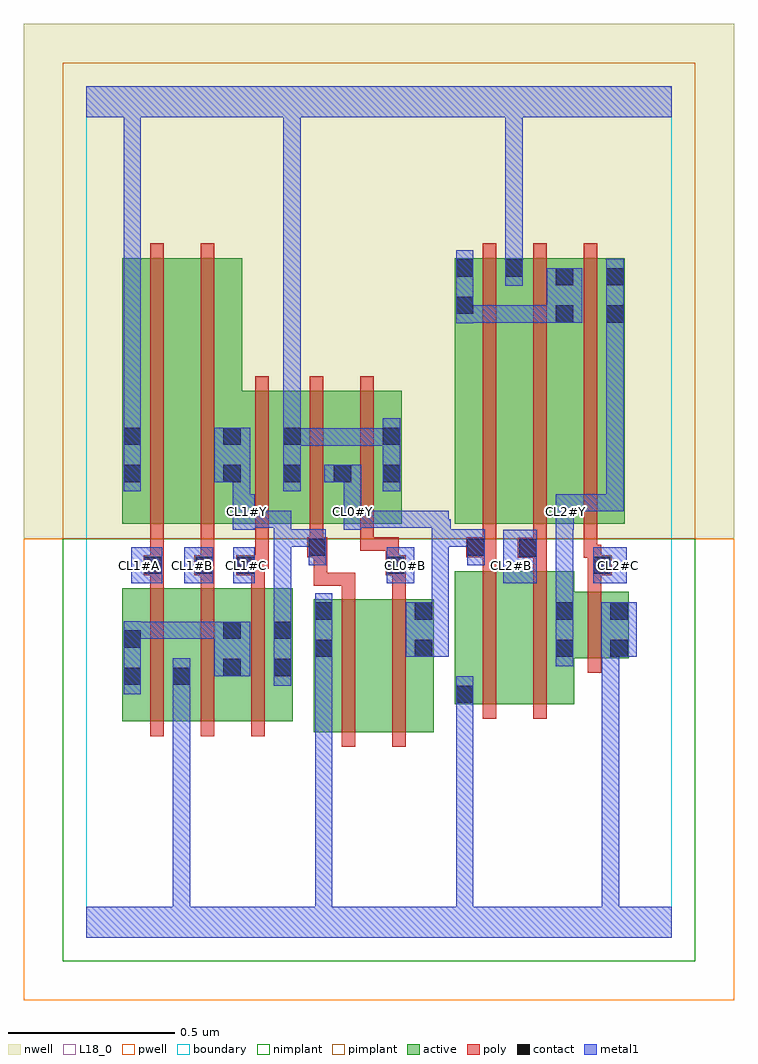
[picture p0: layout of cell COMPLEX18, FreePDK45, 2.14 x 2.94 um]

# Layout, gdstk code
import gdstk
lib = gdstk.Library(unit=1e-6, precision=1e-09)
def R(c, l, rs):  # rectangles x0, y0, x1, y1
    for r in rs: c.add(gdstk.rectangle(r[:2], r[2:], *l))
def A(c, l, x, y, w, h, nx, ny, dx, dy):  # array of equal rectangles
    R(c, l, [(x+i*dx, y+j*dy, x+i*dx+w, y+j*dy+h) for i in range(nx) for j in range(ny)])
active = (1, 0)
pwell = (2, 0)
nwell = (3, 0)
nimplant = (4, 0)
pimplant = (5, 0)
poly = (9, 0)
contact = (10, 0)
metal1 = (11, 0)
L18_0 = (18, 0)
boundary = (235, 0)

complex18 = lib.new_cell('COMPLEX18')
R(complex18, active, [(0.684,0.618,0.864,1.018), (0.864,0.618,1.044,1.018), (0.108,0.65,0.316,1.05), (0.256,0.65,0.316,0.902), (0.256,0.65,0.468,1.05), (0.408,0.65,0.62,1.05), (1.108,0.702,1.288,1.102), (1.108,0.702,1.168,1.102), (1.288,0.702,1.468,1.102), (0.108,0.756,0.168,1.05), (0.408,0.756,0.468,0.954), (0.56,0.756,0.62,1.05), (0.684,0.756,0.744,1.018), (0.984,0.756,1.044,1.018), (1.408,0.776,1.468,1.028), (1.408,0.84,1.632,1.04), (1.572,0.84,1.632,1.04), (0.108,1.244,0.168,2.044), (0.108,1.244,0.288,2.044), (0.288,1.244,0.468,2.044), (0.408,1.244,0.648,1.644), (0.588,1.244,0.8,1.644), (0.74,1.244,0.948,1.644), (0.888,1.244,0.948,1.644), (1.108,1.244,1.168,2.044), (1.108,1.244,1.316,2.044), (1.256,1.244,1.468,2.044), (1.408,1.244,1.62,2.044), (1.56,1.244,1.62,2.044), (0.408,1.366,0.468,1.644), (0.588,1.366,0.648,1.644), (0.74,1.366,0.8,1.644), (1.256,1.686,1.316,2.044), (1.408,1.686,1.468,2.044)])
R(complex18, pwell, [(-0.188,-0.188,1.948,1.2)])
R(complex18, nwell, [(-0.188,1.2,1.948,2.748)])
R(complex18, nimplant, [(-0.072,-0.072,1.832,1.2)])
R(complex18, pimplant, [(-0.072,1.2,1.832,2.632)])
A(complex18, poly, 0.192, 0.606, 0.04, 0.488, 3, 1, 0.152, 0)
A(complex18, poly, 0.192, 1.054, 0.04, 0.076, 3, 1, 0.152, 0)
A(complex18, poly, 1.192, 1.2, 0.04, 0.888, 3, 1, 0.152, 0)
R(complex18, poly, [(0.768,0.574,0.808,1.062), (0.92,0.574,0.96,1.062), (1.192,0.658,1.232,1.146), (1.344,0.658,1.384,1.146), (1.508,0.796,1.548,1.084), (0.768,1.022,0.808,1.098), (0.92,1.022,0.96,1.13), (1.508,1.044,1.548,1.13), (0.684,1.058,0.724,1.184), (0.684,1.058,0.808,1.098), (0.172,1.09,0.232,1.15), (0.192,1.09,0.232,1.13), (0.192,1.09,0.232,1.13), (0.324,1.09,0.384,1.15), (0.344,1.09,0.384,1.13), (0.344,1.09,0.384,1.13), (0.45,1.09,0.536,1.15), (0.9,1.09,0.96,1.15), (1.508,1.09,1.58,1.15), (1.192,1.106,1.232,1.184), (1.344,1.106,1.384,1.182), (0.192,1.11,0.232,1.24), (0.344,1.11,0.384,1.24), (0.496,1.11,0.548,1.15), (0.496,1.11,0.536,1.15), (0.508,1.11,0.548,1.24), (0.9,1.11,0.94,1.204), (1.508,1.11,1.548,1.182), (1.298,1.142,1.384,1.202), (1.496,1.142,1.536,1.24), (1.496,1.142,1.548,1.182), (0.664,1.144,0.724,1.204), (1.142,1.144,1.232,1.204), (1.192,1.144,1.232,1.184), (1.192,1.144,1.232,1.184), (1.344,1.162,1.384,1.24), (1.344,1.162,1.384,1.202), (1.344,1.162,1.384,1.202), (0.672,1.164,0.712,1.24), (0.824,1.164,0.864,1.24), (0.824,1.164,0.94,1.204), (1.192,1.164,1.232,1.24), (0.192,1.2,0.232,2.088), (0.344,1.2,0.384,2.088), (0.508,1.2,0.548,1.688), (0.672,1.2,0.712,1.688), (0.824,1.2,0.864,1.688)])
R(complex18, contact, [(1.112,0.706,1.164,0.758), (0.112,0.76,0.164,0.812), (0.26,0.76,0.312,0.812), (0.412,0.786,0.464,0.838), (0.564,0.786,0.616,0.838), (0.688,0.844,0.74,0.896), (0.988,0.844,1.04,0.896), (1.412,0.844,1.464,0.896), (1.576,0.844,1.628,0.896), (0.112,0.872,0.164,0.924), (0.412,0.898,0.464,0.95), (0.564,0.898,0.616,0.95), (0.688,0.956,0.74,1.008), (0.988,0.956,1.04,1.008), (1.412,0.956,1.464,1.008), (1.576,0.956,1.628,1.008), (0.176,1.094,0.228,1.146), (0.328,1.094,0.38,1.146), (0.454,1.094,0.506,1.146), (0.904,1.094,0.956,1.146), (1.524,1.094,1.576,1.146), (1.302,1.146,1.354,1.198), (0.668,1.148,0.72,1.2), (1.146,1.148,1.198,1.2), (0.112,1.37,0.164,1.422), (0.412,1.37,0.464,1.422), (0.592,1.37,0.644,1.422), (0.744,1.37,0.796,1.422), (0.892,1.37,0.944,1.422), (0.112,1.482,0.164,1.534), (0.412,1.482,0.464,1.534), (0.592,1.482,0.644,1.534), (0.892,1.482,0.944,1.534), (1.412,1.85,1.464,1.902), (1.564,1.85,1.616,1.902), (1.112,1.876,1.164,1.928), (1.412,1.962,1.464,2.014), (1.564,1.962,1.616,2.014), (1.112,1.988,1.164,2.04), (1.26,1.988,1.312,2.04)])
R(complex18, metal1, [(0,0,1.76,0.092), (0.26,0.04,0.312,0.092), (0.26,0.04,0.312,0.092), (0.26,0.04,0.312,0.092), (0.26,0.04,0.312,0.092), (0.26,0.04,0.312,0.092), (0.26,0.04,0.312,0.092), (0.26,0.04,0.312,0.092), (0.26,0.04,0.312,0.092), (0.26,0.04,0.312,0.092), (0.26,0.04,0.312,0.092), (0.26,0.04,0.312,0.092), (0.26,0.04,0.312,0.092), (0.26,0.04,0.312,0.784), (0.688,0.04,0.74,0.092), (0.688,0.04,0.74,0.092), (0.688,0.04,0.74,0.092), (0.688,0.04,0.74,0.092), (0.688,0.04,0.74,0.092), (0.688,0.04,0.74,0.092), (0.688,0.04,0.74,0.092), (0.688,0.04,0.74,0.092), (0.688,0.04,0.74,0.868), (1.112,0.04,1.164,0.092), (1.112,0.04,1.164,0.092), (1.112,0.04,1.164,0.092), (1.112,0.04,1.164,0.092), (1.112,0.04,1.164,0.092), (1.112,0.04,1.164,0.092), (1.112,0.04,1.164,0.092), (1.112,0.04,1.164,0.092), (1.112,0.04,1.164,0.092), (1.112,0.04,1.164,0.092), (1.112,0.04,1.164,0.73), (1.55,0.04,1.602,0.092), (1.55,0.04,1.602,0.092), (1.55,0.04,1.602,0.092), (1.55,0.04,1.602,0.092), (1.55,0.04,1.602,0.092), (1.55,0.04,1.602,0.092), (1.55,0.04,1.602,0.092), (1.55,0.04,1.602,0.092), (1.55,0.04,1.602,0.092), (1.55,0.04,1.602,0.092), (1.55,0.04,1.602,0.092), (1.55,0.04,1.602,0.092), (1.55,0.04,1.602,0.092), (1.55,0.04,1.602,0.092), (1.55,0.04,1.602,0.896), (1.112,0.678,1.164,0.73), (1.112,0.678,1.164,0.73), (1.112,0.678,1.164,0.786), (0.112,0.732,0.164,0.952), (0.26,0.732,0.312,0.84), (0.564,0.758,0.616,0.978), (0.384,0.786,0.492,0.95), (0.688,0.816,0.74,1.036), (0.688,0.816,0.74,0.868), (0.688,0.816,0.74,0.868), (0.688,0.816,0.74,0.868), (0.688,0.816,0.74,0.868), (1.412,0.816,1.464,1.036), (0.96,0.844,1.09,1.008), (1.548,0.844,1.656,1.008), (1.55,0.844,1.602,0.896), (1.55,0.844,1.602,0.896), (0.112,0.898,0.164,0.95), (0.112,0.898,0.164,0.95), (0.112,0.898,0.326,0.95), (0.274,0.898,0.326,0.95), (0.274,0.898,0.326,0.95), (0.274,0.898,0.326,0.95), (0.274,0.898,0.436,0.95), (0.564,0.926,0.616,0.978), (0.564,0.926,0.616,0.978), (0.564,0.926,0.616,1.228), (1.038,0.956,1.09,1.258), (1.412,0.984,1.464,1.278), (0.134,1.066,0.228,1.174), (0.294,1.066,0.38,1.174), (0.442,1.066,0.506,1.174), (0.904,1.066,0.986,1.174), (1.254,1.066,1.354,1.226), (1.524,1.066,1.626,1.174), (0.668,1.12,0.72,1.228), (1.146,1.12,1.198,1.228), (0.564,1.176,0.616,1.228), (0.564,1.176,0.616,1.228), (0.564,1.176,0.616,1.284), (0.564,1.176,0.72,1.228), (1.044,1.176,1.198,1.228), (1.044,1.176,1.096,1.258), (1.038,1.206,1.09,1.258), (1.038,1.206,1.09,1.258), (1.038,1.206,1.096,1.258), (1.038,1.206,1.09,1.284), (0.44,1.226,0.506,1.334), (0.774,1.226,0.826,1.334), (1.412,1.226,1.466,1.334), (0.454,1.232,0.506,1.284), (0.454,1.232,0.506,1.284), (0.454,1.232,0.616,1.284), (0.774,1.232,0.986,1.284), (0.934,1.232,0.986,1.284), (0.934,1.232,1.09,1.284), (0.44,1.282,0.492,1.422), (0.774,1.282,0.826,1.422), (1.414,1.282,1.466,1.334), (1.414,1.282,1.466,1.334), (1.414,1.282,1.616,1.334), (1.564,1.282,1.616,1.874), (1.564,1.282,1.616,1.334), (1.564,1.282,1.616,1.334), (1.564,1.282,1.616,1.334), (0.112,1.342,0.164,1.562), (0.592,1.342,0.644,1.562), (0.892,1.342,0.944,1.562), (0.384,1.37,0.492,1.534), (0.716,1.37,0.826,1.422), (0.592,1.48,0.754,1.532), (0.702,1.48,0.754,1.532), (0.702,1.48,0.754,1.532), (0.702,1.48,0.754,1.532), (0.702,1.48,0.944,1.532), (0.892,1.48,0.944,1.532), (0.892,1.48,0.944,1.532), (0.112,1.51,0.164,1.562), (0.112,1.51,0.164,1.562), (0.112,1.51,0.164,1.562), (0.112,1.51,0.164,1.562), (0.112,1.51,0.164,1.562), (0.112,1.51,0.164,1.562), (0.112,1.51,0.164,2.52), (0.592,1.51,0.644,1.562), (0.592,1.51,0.644,1.562), (0.592,1.51,0.644,1.562), (0.592,1.51,0.644,1.562), (0.592,1.51,0.644,1.562), (0.592,1.51,0.644,1.562), (0.592,1.51,0.644,1.562), (0.592,1.51,0.644,1.562), (0.592,1.51,0.644,2.52), (1.564,1.822,1.616,2.042), (1.112,1.848,1.164,2.068), (1.112,1.85,1.198,1.902), (1.146,1.85,1.198,1.902), (1.146,1.85,1.308,1.902), (1.256,1.85,1.308,1.902), (1.256,1.85,1.308,1.902), (1.256,1.85,1.308,1.902), (1.256,1.85,1.436,1.902), (1.384,1.85,1.492,2.014), (1.26,1.96,1.312,2.068), (1.26,2.016,1.312,2.068), (1.26,2.016,1.312,2.068), (1.26,2.016,1.312,2.068), (1.26,2.016,1.312,2.068), (1.26,2.016,1.312,2.068), (1.26,2.016,1.312,2.068), (1.26,2.016,1.312,2.068), (1.26,2.016,1.312,2.068), (1.26,2.016,1.312,2.52), (0,2.468,1.76,2.56), (0.112,2.468,0.164,2.52), (0.112,2.468,0.164,2.52), (0.592,2.468,0.644,2.52), (0.592,2.468,0.644,2.52), (0.592,2.468,0.644,2.52), (0.592,2.468,0.644,2.52), (0.592,2.468,0.644,2.52), (0.592,2.468,0.644,2.52), (0.592,2.468,0.644,2.52), (0.592,2.468,0.644,2.52)])
A(complex18, L18_0, 0.134, 1.094, 0.052, 0.052, 3, 1, 0.16, 0)
A(complex18, L18_0, 0.934, 1.094, 0.052, 0.052, 3, 1, 0.32, 0)
R(complex18, L18_0, [(0,0,1.76,0.092), (0.26,0.04,0.312,0.092), (0.26,0.04,0.312,0.092), (0.26,0.04,0.312,0.092), (0.26,0.04,0.312,0.092), (0.26,0.04,0.312,0.092), (0.26,0.04,0.312,0.092), (0.26,0.04,0.312,0.092), (0.26,0.04,0.312,0.092), (0.26,0.04,0.312,0.092), (0.26,0.04,0.312,0.092), (0.26,0.04,0.312,0.092), (0.26,0.04,0.312,0.092), (0.26,0.04,0.312,0.784), (0.688,0.04,0.74,0.092), (0.688,0.04,0.74,0.092), (0.688,0.04,0.74,0.092), (0.688,0.04,0.74,0.092), (0.688,0.04,0.74,0.092), (0.688,0.04,0.74,0.092), (0.688,0.04,0.74,0.092), (0.688,0.04,0.74,0.092), (0.688,0.04,0.74,0.868), (1.112,0.04,1.164,0.092), (1.112,0.04,1.164,0.092), (1.112,0.04,1.164,0.092), (1.112,0.04,1.164,0.092), (1.112,0.04,1.164,0.092), (1.112,0.04,1.164,0.092), (1.112,0.04,1.164,0.092), (1.112,0.04,1.164,0.092), (1.112,0.04,1.164,0.092), (1.112,0.04,1.164,0.092), (1.112,0.04,1.164,0.73), (1.55,0.04,1.602,0.092), (1.55,0.04,1.602,0.092), (1.55,0.04,1.602,0.092), (1.55,0.04,1.602,0.092), (1.55,0.04,1.602,0.092), (1.55,0.04,1.602,0.092), (1.55,0.04,1.602,0.092), (1.55,0.04,1.602,0.092), (1.55,0.04,1.602,0.092), (1.55,0.04,1.602,0.092), (1.55,0.04,1.602,0.092), (1.55,0.04,1.602,0.092), (1.55,0.04,1.602,0.092), (1.55,0.04,1.602,0.092), (1.55,0.04,1.602,0.896), (1.112,0.678,1.164,0.73), (1.112,0.678,1.164,0.73), (1.112,0.678,1.164,0.786), (0.26,0.732,0.312,0.84), (0.564,0.758,0.616,0.978), (0.688,0.816,0.74,1.036), (0.688,0.816,0.74,0.868), (0.688,0.816,0.74,0.868), (0.688,0.816,0.74,0.868), (0.688,0.816,0.74,0.868), (1.412,0.816,1.464,1.036), (0.96,0.844,1.09,1.008), (1.548,0.844,1.656,1.008), (1.55,0.844,1.602,0.896), (1.55,0.844,1.602,0.896), (0.564,0.926,0.616,0.978), (0.564,0.926,0.616,0.978), (0.564,0.926,0.616,1.228), (1.038,0.956,1.09,1.258), (1.412,0.984,1.464,1.278), (0.134,1.066,0.228,1.174), (0.294,1.066,0.38,1.174), (0.442,1.066,0.506,1.174), (0.904,1.066,0.986,1.174), (1.254,1.066,1.354,1.226), (1.524,1.066,1.626,1.174), (0.668,1.12,0.72,1.228), (1.146,1.12,1.198,1.228), (0.564,1.176,0.616,1.228), (0.564,1.176,0.616,1.228), (0.564,1.176,0.616,1.284), (0.564,1.176,0.72,1.228), (1.044,1.176,1.096,1.258), (1.044,1.176,1.198,1.228), (1.038,1.206,1.09,1.258), (1.038,1.206,1.09,1.258), (1.038,1.206,1.09,1.284), (1.038,1.206,1.096,1.258), (0.44,1.226,0.506,1.334), (0.774,1.226,0.826,1.334), (1.412,1.226,1.466,1.334), (0.454,1.232,0.506,1.284), (0.454,1.232,0.506,1.284), (0.454,1.232,0.616,1.284), (0.774,1.232,0.986,1.284), (0.934,1.232,0.986,1.284), (0.934,1.232,1.09,1.284), (0.454,1.254,0.506,1.306), (0.774,1.254,0.826,1.306), (1.414,1.254,1.466,1.306), (0.44,1.282,0.492,1.422), (0.774,1.282,0.826,1.422), (1.414,1.282,1.466,1.334), (1.414,1.282,1.466,1.334), (1.414,1.282,1.616,1.334), (1.564,1.282,1.616,1.334), (1.564,1.282,1.616,1.334), (1.564,1.282,1.616,1.334), (1.564,1.282,1.616,1.874), (0.112,1.342,0.164,1.562), (0.592,1.342,0.644,1.562), (0.892,1.342,0.944,1.562), (0.384,1.37,0.492,1.534), (0.716,1.37,0.826,1.422), (0.592,1.48,0.754,1.532), (0.702,1.48,0.754,1.532), (0.702,1.48,0.754,1.532), (0.702,1.48,0.754,1.532), (0.702,1.48,0.944,1.532), (0.892,1.48,0.944,1.532), (0.892,1.48,0.944,1.532), (0.112,1.51,0.164,1.562), (0.112,1.51,0.164,1.562), (0.112,1.51,0.164,1.562), (0.112,1.51,0.164,1.562), (0.112,1.51,0.164,1.562), (0.112,1.51,0.164,1.562), (0.112,1.51,0.164,2.52), (0.592,1.51,0.644,1.562), (0.592,1.51,0.644,1.562), (0.592,1.51,0.644,1.562), (0.592,1.51,0.644,1.562), (0.592,1.51,0.644,1.562), (0.592,1.51,0.644,1.562), (0.592,1.51,0.644,1.562), (0.592,1.51,0.644,1.562), (0.592,1.51,0.644,2.52), (1.564,1.822,1.616,2.042), (1.26,1.96,1.312,2.068), (1.26,2.016,1.312,2.068), (1.26,2.016,1.312,2.068), (1.26,2.016,1.312,2.068), (1.26,2.016,1.312,2.068), (1.26,2.016,1.312,2.068), (1.26,2.016,1.312,2.068), (1.26,2.016,1.312,2.068), (1.26,2.016,1.312,2.068), (1.26,2.016,1.312,2.52), (0,2.468,1.76,2.56), (0.112,2.468,0.164,2.52), (0.112,2.468,0.164,2.52), (0.592,2.468,0.644,2.52), (0.592,2.468,0.644,2.52), (0.592,2.468,0.644,2.52), (0.592,2.468,0.644,2.52), (0.592,2.468,0.644,2.52), (0.592,2.468,0.644,2.52), (0.592,2.468,0.644,2.52), (0.592,2.468,0.644,2.52)])
R(complex18, boundary, [(0,0,1.76,2.56)])
complex18.add(gdstk.Label('CL0#B', (0.96,1.12), layer=11, texttype=0))
complex18.add(gdstk.Label('CL0#Y', (0.8,1.28), layer=11, texttype=0))
complex18.add(gdstk.Label('CL1#A', (0.16,1.12), layer=11, texttype=0))
complex18.add(gdstk.Label('CL1#B', (0.32,1.12), layer=11, texttype=0))
complex18.add(gdstk.Label('CL1#C', (0.48,1.12), layer=11, texttype=0))
complex18.add(gdstk.Label('CL1#Y', (0.48,1.28), layer=11, texttype=0))
complex18.add(gdstk.Label('CL2#B', (1.28,1.12), layer=11, texttype=0))
complex18.add(gdstk.Label('CL2#C', (1.6,1.12), layer=11, texttype=0))
complex18.add(gdstk.Label('CL2#Y', (1.44,1.28), layer=11, texttype=0))

lib.write_gds('COMPLEX18.gds')
